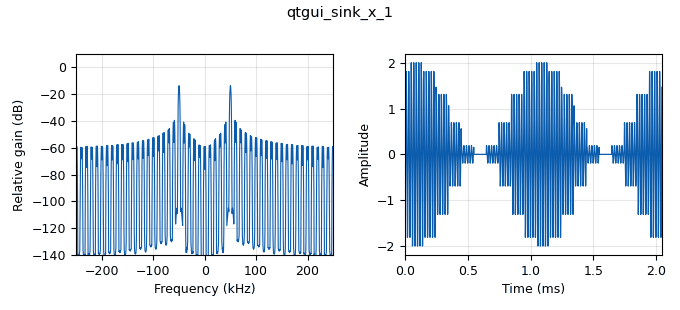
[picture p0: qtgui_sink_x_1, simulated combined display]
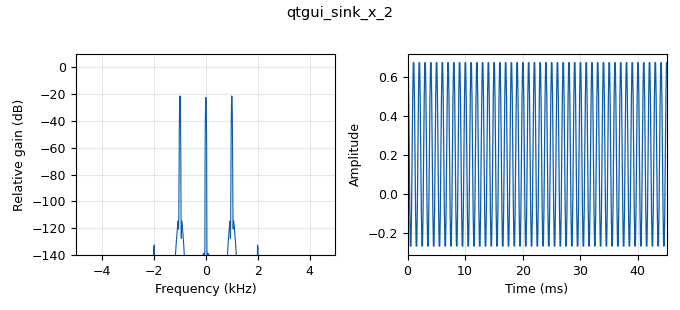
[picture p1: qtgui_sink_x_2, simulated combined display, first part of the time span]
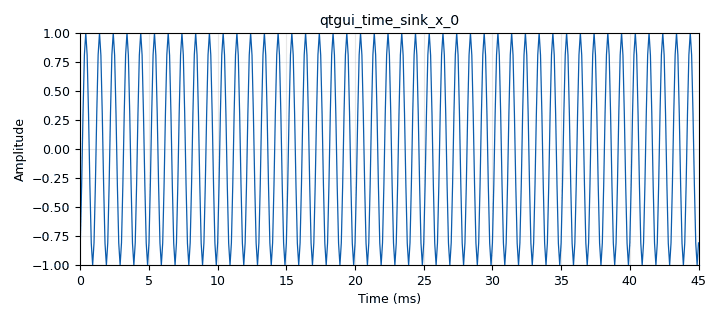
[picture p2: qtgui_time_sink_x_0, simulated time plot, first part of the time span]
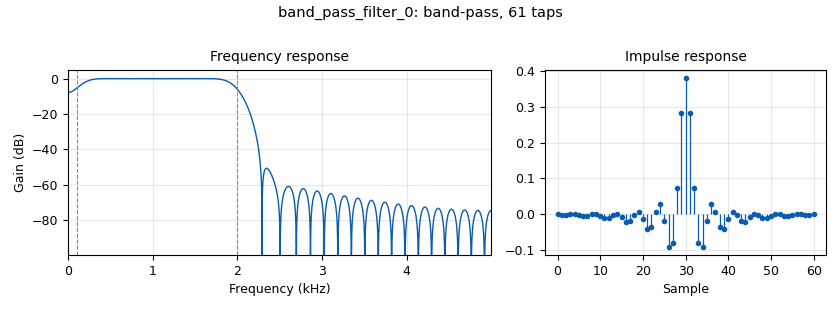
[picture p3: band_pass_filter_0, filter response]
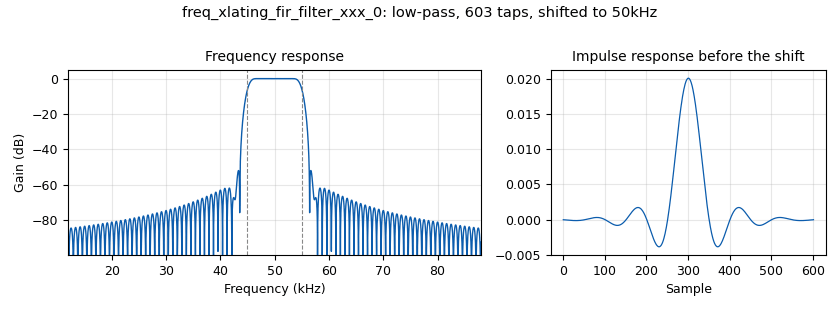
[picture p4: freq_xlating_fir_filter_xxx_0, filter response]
options:
  parameters:
    author: fraseroregan
    generate_options: qt_gui
    id: AM_system
    output_language: python
    title: Simple Modulation system
  states: {}

blocks:
- name: samp_rate
  id: variable
  parameters:
    value: '500000'
  states: {}
- name: analog_sig_source_x_0_0
  id: analog_sig_source_x
  parameters:
    amp: '1'
    freq: '1000'
    offset: '0'
    phase: '0'
    samp_rate: '10000'
    type: float
    waveform: analog.GR_COS_WAVE
  states: {}
- name: analog_sig_source_x_2
  id: analog_sig_source_x
  parameters:
    amp: '1'
    freq: '50000'
    offset: '0'
    phase: '0'
    samp_rate: samp_rate
    type: float
    waveform: analog.GR_COS_WAVE
  states: {}
- name: band_pass_filter_0
  id: band_pass_filter
  parameters:
    decim: '1'
    gain: '1'
    high_cutoff_freq: '2000'
    low_cutoff_freq: '100'
    samp_rate: '10000'
    type: fir_filter_fff
    width: '400'
    win: window.WIN_HAMMING
  states: {}
- name: blocks_add_const_vxx_0
  id: blocks_add_const_vxx
  parameters:
    const: '1'
    type: float
  states: {}
- name: blocks_complex_to_mag_0
  id: blocks_complex_to_mag
  parameters: {}
  states: {}
- name: blocks_multiply_xx_1
  id: blocks_multiply_xx
  parameters:
    type: float
  states: {}
- name: blocks_repeat_0
  id: blocks_repeat
  parameters:
    interp: '50'
    type: float
  states: {}
- name: freq_xlating_fir_filter_xxx_0
  id: freq_xlating_fir_filter_xxx
  parameters:
    center_freq: '50000'
    decim: '50'
    samp_rate: samp_rate
    taps: firdes.low_pass(1,samp_rate,samp_rate/(2*50), 2000)
    type: fcf
  states: {}
- name: qtgui_sink_x_1
  id: qtgui_sink_x
  parameters:
    bw: samp_rate
    fc: '0'
    fftsize: '1024'
    type: float
  states: {}
- name: qtgui_sink_x_2
  id: qtgui_sink_x
  parameters:
    bw: '10000'
    fc: '0'
    fftsize: '1024'
    type: float
  states: {}
- name: qtgui_time_sink_x_0
  id: qtgui_time_sink_x
  parameters:
    size: '1024'
    srate: '10000'
    type: float
  states: {}

connections:
- [analog_sig_source_x_0_0, '0', blocks_repeat_0, '0']
- [analog_sig_source_x_0_0, '0', qtgui_time_sink_x_0, '0']
- [analog_sig_source_x_2, '0', blocks_multiply_xx_1, '1']
- [band_pass_filter_0, '0', qtgui_sink_x_2, '0']
- [blocks_add_const_vxx_0, '0', blocks_multiply_xx_1, '0']
- [blocks_complex_to_mag_0, '0', band_pass_filter_0, '0']
- [blocks_multiply_xx_1, '0', freq_xlating_fir_filter_xxx_0, '0']
- [blocks_multiply_xx_1, '0', qtgui_sink_x_1, '0']
- [blocks_repeat_0, '0', blocks_add_const_vxx_0, '0']
- [freq_xlating_fir_filter_xxx_0, '0', blocks_complex_to_mag_0, '0']

metadata:
  file_format: 1
  grc_version: 3.10.10.0
